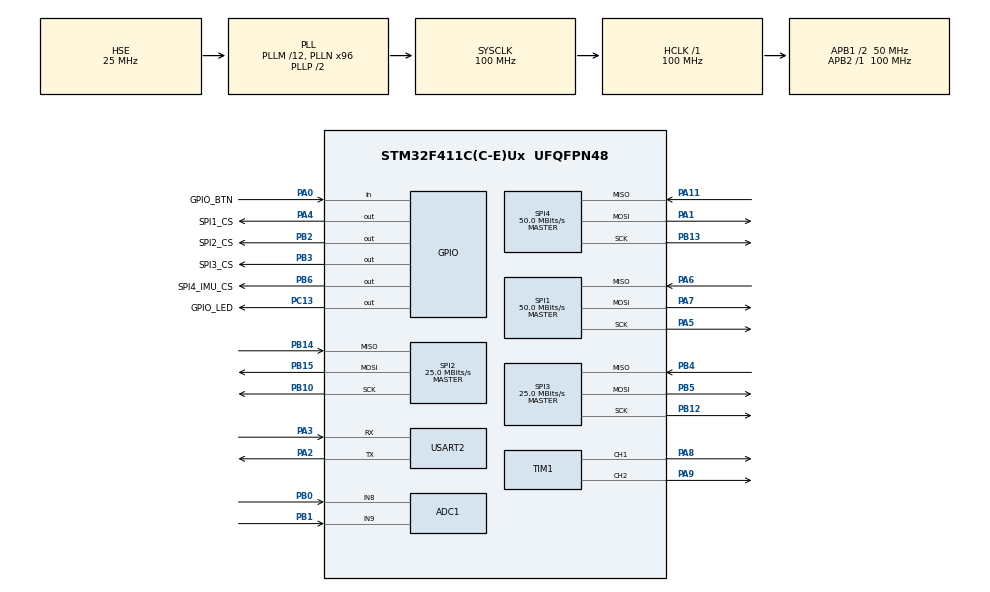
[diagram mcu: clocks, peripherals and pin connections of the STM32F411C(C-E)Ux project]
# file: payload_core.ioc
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ADC1.Channel-0\#ChannelRegularConversion=ADC_CHANNEL_8
ADC1.NbrOfConversionFlag=1
ADC1.Rank-0\#ChannelRegularConversion=1
ADC1.SamplingTime-0\#ChannelRegularConversion=ADC_SAMPLETIME_3CYCLES
ADC1.master=1
Mcu.Family=STM32F4
Mcu.Name=STM32F411C(C-E)Ux
Mcu.Package=UFQFPN48
NVIC.PriorityGroup=NVIC_PRIORITYGROUP_4
NVIC.TIM1_UP_TIM10_IRQn=true\:0\:0\:false\:false\:true\:true\:true\:true
NVIC.TIM2_IRQn=true\:0\:0\:false\:false\:true\:true\:true\:true
NVIC.TIM3_IRQn=true\:0\:0\:false\:false\:true\:true\:true\:true
NVIC.TIM4_IRQn=true\:0\:0\:false\:false\:true\:true\:true\:true
PA0-WKUP.GPIO_Label=GPIO_BTN
PA0-WKUP.Signal=GPIO_Input
PA1.Mode=Full_Duplex_Master
PA1.Signal=SPI4_MOSI
PA11.Mode=Full_Duplex_Master
PA11.Signal=SPI4_MISO
PA13.Mode=Serial_Wire
PA13.Signal=SYS_JTMS-SWDIO
PA14.Mode=Serial_Wire
PA14.Signal=SYS_JTCK-SWCLK
PA2.Mode=Asynchronous
PA2.Signal=USART2_TX
PA3.Mode=Asynchronous
PA3.Signal=USART2_RX
PA4.GPIO_Label=SPI1_CS
PA4.Signal=GPIO_Output
PA5.Mode=Full_Duplex_Master
PA5.Signal=SPI1_SCK
PA6.Mode=Full_Duplex_Master
PA6.Signal=SPI1_MISO
PA7.Mode=Full_Duplex_Master
PA7.Signal=SPI1_MOSI
PA8.Signal=S_TIM1_CH1
PA9.Signal=S_TIM1_CH2
PB0.Signal=ADCx_IN8
PB1.Signal=ADCx_IN9
PB10.Mode=Full_Duplex_Master
PB10.Signal=SPI2_SCK
PB12.Mode=Full_Duplex_Master
PB12.Signal=SPI3_SCK
PB13.Mode=Full_Duplex_Master
PB13.Signal=SPI4_SCK
PB14.Mode=Full_Duplex_Master
PB14.Signal=SPI2_MISO
PB15.Mode=Full_Duplex_Master
PB15.Signal=SPI2_MOSI
PB2.GPIO_Label=SPI2_CS
PB2.Signal=GPIO_Output
PB3.GPIO_Label=SPI3_CS
PB3.Signal=GPIO_Output
PB4.Mode=Full_Duplex_Master
PB4.Signal=SPI3_MISO
PB5.Mode=Full_Duplex_Master
PB5.Signal=SPI3_MOSI
PB6.GPIO_Label=SPI4_IMU_CS
PB6.Signal=GPIO_Output
PC13-ANTI_TAMP.GPIO_Label=GPIO_LED
PC13-ANTI_TAMP.Signal=GPIO_Output
PC14-OSC32_IN.Mode=LSE-External-Oscillator
PC14-OSC32_IN.Signal=RCC_OSC32_IN
PC15-OSC32_OUT.Mode=LSE-External-Oscillator
PC15-OSC32_OUT.Signal=RCC_OSC32_OUT
PH0\ -\ OSC_IN.Mode=HSE-External-Oscillator
PH0\ -\ OSC_IN.Signal=RCC_OSC_IN
PH1\ -\ OSC_OUT.Mode=HSE-External-Oscillator
PH1\ -\ OSC_OUT.Signal=RCC_OSC_OUT
ProjectManager.HeapSize=0x200
ProjectManager.StackSize=0x400
ProjectManager.TargetToolchain=EWARM V8.50
RCC.48MHZClocksFreq_Value=50000000
RCC.AHBFreq_Value=100000000
RCC.APB1CLKDivider=RCC_HCLK_DIV2
RCC.APB1Freq_Value=50000000
RCC.APB1TimFreq_Value=100000000
RCC.APB2Freq_Value=100000000
RCC.APB2TimFreq_Value=100000000
RCC.CortexFreq_Value=100000000
RCC.HCLKFreq_Value=100000000
RCC.HSE_VALUE=25000000
RCC.HSI_VALUE=16000000
RCC.PLLM=12
RCC.PLLN=96
RCC.PLLSourceVirtual=RCC_PLLSOURCE_HSE
RCC.RCC_RTC_Clock_SourceVirtual=RCC_RTCCLKSOURCE_LSE
RCC.SYSCLKFreq_VALUE=100000000
RCC.SYSCLKSource=RCC_SYSCLKSOURCE_PLLCLK
RCC.VCOOutputFreq_Value=200000000
SH.ADCx_IN8.0=ADC1_IN8,IN8
SH.ADCx_IN9.0=ADC1_IN9,IN9
SH.S_TIM1_CH1.0=TIM1_CH1,PWM Generation1 CH1
SH.S_TIM1_CH2.0=TIM1_CH2,PWM Generation2 CH2
SPI1.BaudRatePrescaler=SPI_BAUDRATEPRESCALER_2
SPI1.CalculateBaudRate=50.0 MBits/s
SPI1.Direction=SPI_DIRECTION_2LINES
SPI1.Mode=SPI_MODE_MASTER
SPI1.VirtualType=VM_MASTER
SPI2.BaudRatePrescaler=SPI_BAUDRATEPRESCALER_2
SPI2.CalculateBaudRate=25.0 MBits/s
SPI2.Direction=SPI_DIRECTION_2LINES
SPI2.Mode=SPI_MODE_MASTER
SPI2.VirtualType=VM_MASTER
SPI3.BaudRatePrescaler=SPI_BAUDRATEPRESCALER_2
SPI3.CalculateBaudRate=25.0 MBits/s
SPI3.Direction=SPI_DIRECTION_2LINES
SPI3.Mode=SPI_MODE_MASTER
SPI3.VirtualType=VM_MASTER
SPI4.BaudRatePrescaler=SPI_BAUDRATEPRESCALER_2
SPI4.CalculateBaudRate=50.0 MBits/s
SPI4.Direction=SPI_DIRECTION_2LINES
SPI4.Mode=SPI_MODE_MASTER
SPI4.VirtualType=VM_MASTER
TIM1.Channel-PWM\ Generation1\ CH1=TIM_CHANNEL_1
TIM1.Channel-PWM\ Generation2\ CH2=TIM_CHANNEL_2
USART2.VirtualMode=VM_ASYNC
VP_CRC_VS_CRC.Mode=CRC_Activate
VP_RTC_VS_RTC_Activate.Mode=RTC_Enabled
VP_TIM1_VS_ClockSourceINT.Mode=Internal
VP_TIM2_VS_ClockSourceINT.Mode=Internal
VP_TIM3_VS_ClockSourceINT.Mode=Internal
VP_TIM4_VS_ClockSourceINT.Mode=Internal
board=custom

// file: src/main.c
#include "main.h"
#include "payload.h"
#include "../lib/spif/spif.h"
#include "log.h"
#include "servo.h"
#include "stm32f4xx_hal_spi.h"
#include "stm32f4xx_hal_tim.h"

ADC_HandleTypeDef hadc1;

CRC_HandleTypeDef hcrc;

RTC_HandleTypeDef hrtc;

SPI_HandleTypeDef hspi1;
SPI_HandleTypeDef hspi2;
SPI_HandleTypeDef hspi3;
SPI_HandleTypeDef hspi4;

SPIF_HandleTypeDef hspif;

TIM_HandleTypeDef htim1;
TIM_HandleTypeDef htim2;
TIM_HandleTypeDef htim3;
TIM_HandleTypeDef htim4;

UART_HandleTypeDef huart2;

struct servo_device servo_dev1 = { 0 };
struct servo_device servo_dev2 = { 0 };

enum led_state_e led_state = LED_OFF;

void SystemClock_Config(void);
static void MX_GPIO_Init(void);
static void MX_SPI2_Init(void);
static void MX_SPI3_Init(void);
static void MX_RTC_Init(void);
static void MX_TIM1_Init(void);
static void MX_USART2_UART_Init(void);
static void MX_SPI4_Init(void);
static void MX_SPI1_Init(void);
static void MX_CRC_Init(void);
static void MX_ADC1_Init(void);
static void MX_TIM2_Init(void);
static void MX_TIM3_Init(void);
static void MX_TIM4_Init(void);

int main(void)
{
	/* Reset of all peripherals, Initializes the Flash interface and the Systick. */
	HAL_Init();

	/* Configure the system clock */
	SystemClock_Config();

	/* Initialize all configured peripherals */
	MX_GPIO_Init();
	MX_SPI2_Init();
	MX_SPI3_Init();
	MX_RTC_Init();
	MX_USART2_UART_Init();
	MX_SPI4_Init();
	MX_SPI1_Init();
	MX_CRC_Init();
	MX_ADC1_Init();
	MX_TIM1_Init();
	MX_TIM2_Init();
	MX_TIM3_Init();
	MX_TIM4_Init();

	log_init(&huart2);

	LOG_INF("------- PAYLOAD CORE INIT -------");

	// Initialize SPI Flash
	if (!SPIF_Init(&hspif, &hspi1, SPI1_CS_GPIO_Port, SPI1_CS_Pin))
	{
		LOG_ERR("Flash init failed");
		Error_Handler();
	}
	LOG_INF("Flash: %lu pages (%lu KiB)", hspif.PageCnt, hspif.PageCnt / 4);

	// Initialize servos
	servo_dev1.htim = &htim1;
	servo_dev1.hadc = &hadc1;
	servo_dev1.tim_channel = TIM_CHANNEL_1;
	servo_dev1.adc_channel = ADC_CHANNEL_8;
	servo_dev1.period_us = 20000;
	servo_dev1.pwm_min_us = 500;
	servo_dev1.pwm_max_us = 2500;
	servo_dev1.deg_min = -90.0;
	servo_dev1.deg_max = 90.0;
	servo_dev1.deg_offset = 0.0;
	servo_dev1.adc_min = 182;
	servo_dev1.adc_max = 3870;
	if (servo_init(&servo_dev1))
	{
		LOG_ERR("Error initializing servo device 1 (TIM1-CH1).");
	}

	servo_dev2 = servo_dev1;
	servo_dev2.adc_channel = ADC_CHANNEL_9;
	servo_dev2.tim_channel = TIM_CHANNEL_2;
	servo_dev2.adc_min = 182;
	servo_dev2.adc_max = 3887;
	if (servo_init(&servo_dev2))
	{
		LOG_ERR("Error initializing servo device 2 (TIM1-CH2).");
	}

	HAL_TIM_Base_Start_IT(&htim2);
	HAL_TIM_Base_Start_IT(&htim3);
	HAL_TIM_Base_Start_IT(&htim4);

	payload_setup();

	while (1)
	{
		payload_poll();
	}
}

void SystemClock_Config(void)
{
	RCC_OscInitTypeDef RCC_OscInitStruct = { 0 };
	RCC_ClkInitTypeDef RCC_ClkInitStruct = { 0 };

	/** Configure the main internal regulator output voltage
	 */
	__HAL_RCC_PWR_CLK_ENABLE();
	__HAL_PWR_VOLTAGESCALING_CONFIG(PWR_REGULATOR_VOLTAGE_SCALE1);

	/** Initializes the RCC Oscillators according to the specified parameters
	 * in the RCC_OscInitTypeDef structure.
	 */
	RCC_OscInitStruct.OscillatorType = RCC_OSCILLATORTYPE_HSE | RCC_OSCILLATORTYPE_LSE;
	RCC_OscInitStruct.HSEState = RCC_HSE_ON;
	RCC_OscInitStruct.LSEState = RCC_LSE_ON;
	RCC_OscInitStruct.PLL.PLLState = RCC_PLL_ON;
	RCC_OscInitStruct.PLL.PLLSource = RCC_PLLSOURCE_HSE;
	RCC_OscInitStruct.PLL.PLLM = 12;
	RCC_OscInitStruct.PLL.PLLN = 96;
	RCC_OscInitStruct.PLL.PLLP = RCC_PLLP_DIV2;
	RCC_OscInitStruct.PLL.PLLQ = 4;
	if (HAL_RCC_OscConfig(&RCC_OscInitStruct) != HAL_OK)
	{
		Error_Handler();
	}

	/** Initializes the CPU, AHB and APB buses clocks
	 */
	RCC_ClkInitStruct.ClockType
	        = RCC_CLOCKTYPE_HCLK | RCC_CLOCKTYPE_SYSCLK | RCC_CLOCKTYPE_PCLK1 | RCC_CLOCKTYPE_PCLK2;
	RCC_ClkInitStruct.SYSCLKSource = RCC_SYSCLKSOURCE_PLLCLK;
	RCC_ClkInitStruct.AHBCLKDivider = RCC_SYSCLK_DIV1;
	RCC_ClkInitStruct.APB1CLKDivider = RCC_HCLK_DIV2;
	RCC_ClkInitStruct.APB2CLKDivider = RCC_HCLK_DIV1;

	if (HAL_RCC_ClockConfig(&RCC_ClkInitStruct, FLASH_LATENCY_3) != HAL_OK)
	{
		Error_Handler();
	}
}

static void MX_ADC1_Init(void)
{

	ADC_ChannelConfTypeDef sConfig = { 0 };

	/** Configure the global features of the ADC (Clock, Resolution, Data Alignment and number of
	 * conversion)
	 */
	hadc1.Instance = ADC1;
	hadc1.Init.ClockPrescaler = ADC_CLOCK_SYNC_PCLK_DIV4;
	hadc1.Init.Resolution = ADC_RESOLUTION_12B;
	hadc1.Init.ScanConvMode = DISABLE;
	hadc1.Init.ContinuousConvMode = DISABLE;
	hadc1.Init.DiscontinuousConvMode = DISABLE;
	hadc1.Init.ExternalTrigConvEdge = ADC_EXTERNALTRIGCONVEDGE_NONE;
	hadc1.Init.ExternalTrigConv = ADC_SOFTWARE_START;
	hadc1.Init.DataAlign = ADC_DATAALIGN_RIGHT;
	hadc1.Init.NbrOfConversion = 1;
	hadc1.Init.DMAContinuousRequests = DISABLE;
	hadc1.Init.EOCSelection = ADC_EOC_SINGLE_CONV;
	if (HAL_ADC_Init(&hadc1) != HAL_OK)
	{
		Error_Handler();
	}

	/** Configure for the selected ADC regular channel its corresponding rank in the sequencer and
	 * its sample time.
	 */
	sConfig.Channel = ADC_CHANNEL_8;
	sConfig.Rank = 1;
	sConfig.SamplingTime = ADC_SAMPLETIME_3CYCLES;
	if (HAL_ADC_ConfigChannel(&hadc1, &sConfig) != HAL_OK)
	{
		Error_Handler();
	}
}

static void MX_CRC_Init(void)
{

	hcrc.Instance = CRC;
	if (HAL_CRC_Init(&hcrc) != HAL_OK)
	{
		Error_Handler();
	}
}

static void MX_RTC_Init(void)
{

	/** Initialize RTC Only
	 */
	hrtc.Instance = RTC;
	hrtc.Init.HourFormat = RTC_HOURFORMAT_24;
	hrtc.Init.AsynchPrediv = 127;
	hrtc.Init.SynchPrediv = 255;
	hrtc.Init.OutPut = RTC_OUTPUT_DISABLE;
	hrtc.Init.OutPutPolarity = RTC_OUTPUT_POLARITY_HIGH;
	hrtc.Init.OutPutType = RTC_OUTPUT_TYPE_OPENDRAIN;
	if (HAL_RTC_Init(&hrtc) != HAL_OK)
	{
		Error_Handler();
	}
}

static void MX_SPI1_Init(void)
{

	/* SPI1 parameter configuration*/
	hspi1.Instance = SPI1;
	hspi1.Init.Mode = SPI_MODE_MASTER;
	hspi1.Init.Direction = SPI_DIRECTION_2LINES;
	hspi1.Init.DataSize = SPI_DATASIZE_8BIT;
	hspi1.Init.CLKPolarity = SPI_POLARITY_LOW;
	hspi1.Init.CLKPhase = SPI_PHASE_1EDGE;
	hspi1.Init.NSS = SPI_NSS_SOFT;
	hspi1.Init.BaudRatePrescaler = SPI_BAUDRATEPRESCALER_2;
	hspi1.Init.FirstBit = SPI_FIRSTBIT_MSB;
	hspi1.Init.TIMode = SPI_TIMODE_DISABLE;
	hspi1.Init.CRCCalculation = SPI_CRCCALCULATION_DISABLE;
	hspi1.Init.CRCPolynomial = 10;
	if (HAL_SPI_Init(&hspi1) != HAL_OK)
	{
		Error_Handler();
	}
}

static void MX_SPI2_Init(void)
{

	/* SPI2 parameter configuration*/
	hspi2.Instance = SPI2;
	hspi2.Init.Mode = SPI_MODE_MASTER;
	hspi2.Init.Direction = SPI_DIRECTION_2LINES;
	hspi2.Init.DataSize = SPI_DATASIZE_8BIT;
	hspi2.Init.CLKPolarity = SPI_POLARITY_LOW;
	hspi2.Init.CLKPhase = SPI_PHASE_1EDGE;
	hspi2.Init.NSS = SPI_NSS_SOFT;
	hspi2.Init.BaudRatePrescaler = SPI_BAUDRATEPRESCALER_128; // ~ 380 kHz
	hspi2.Init.FirstBit = SPI_FIRSTBIT_MSB;
	hspi2.Init.TIMode = SPI_TIMODE_DISABLE;
	hspi2.Init.CRCCalculation = SPI_CRCCALCULATION_DISABLE;
	hspi2.Init.CRCPolynomial = 10;
	if (HAL_SPI_Init(&hspi2) != HAL_OK)
	{
		Error_Handler();
	}
}

static void MX_SPI3_Init(void)
{

	/* SPI3 parameter configuration*/
	hspi3.Instance = SPI3;
	hspi3.Init.Mode = SPI_MODE_MASTER;
	hspi3.Init.Direction = SPI_DIRECTION_2LINES;
	hspi3.Init.DataSize = SPI_DATASIZE_8BIT;
	hspi3.Init.CLKPolarity = SPI_POLARITY_HIGH;
	hspi3.Init.CLKPhase = SPI_PHASE_2EDGE;
	hspi3.Init.NSS = SPI_NSS_SOFT;
	hspi3.Init.BaudRatePrescaler = SPI_BAUDRATEPRESCALER_8;
	hspi3.Init.FirstBit = SPI_FIRSTBIT_MSB;
	hspi3.Init.TIMode = SPI_TIMODE_DISABLE;
	hspi3.Init.CRCCalculation = SPI_CRCCALCULATION_DISABLE;
	hspi3.Init.CRCPolynomial = 10;
	if (HAL_SPI_Init(&hspi3) != HAL_OK)
	{
		Error_Handler();
	}
}

static void MX_SPI4_Init(void)
{

	/* SPI4 parameter configuration*/
	hspi4.Instance = SPI4;
	hspi4.Init.Mode = SPI_MODE_MASTER;
	hspi4.Init.Direction = SPI_DIRECTION_2LINES;
	hspi4.Init.DataSize = SPI_DATASIZE_8BIT;
	hspi4.Init.CLKPolarity = SPI_POLARITY_HIGH;
	hspi4.Init.CLKPhase = SPI_PHASE_2EDGE;
	hspi4.Init.NSS = SPI_NSS_SOFT;
	hspi4.Init.BaudRatePrescaler = SPI_BAUDRATEPRESCALER_16;
	hspi4.Init.FirstBit = SPI_FIRSTBIT_MSB;
	hspi4.Init.TIMode = SPI_TIMODE_DISABLE;
	hspi4.Init.CRCCalculation = SPI_CRCCALCULATION_DISABLE;
	hspi4.Init.CRCPolynomial = 10;
	if (HAL_SPI_Init(&hspi4) != HAL_OK)
	{
		Error_Handler();
	}
}

static void MX_TIM1_Init(void)
{

	TIM_ClockConfigTypeDef sClockSourceConfig = { 0 };
	TIM_MasterConfigTypeDef sMasterConfig = { 0 };
	TIM_OC_InitTypeDef sConfigOC = { 0 };
	TIM_BreakDeadTimeConfigTypeDef sBreakDeadTimeConfig = { 0 };

	htim1.Instance = TIM1;
	htim1.Init.Prescaler = 258;
	htim1.Init.CounterMode = TIM_COUNTERMODE_UP;
	htim1.Init.Period = 65535;
	htim1.Init.ClockDivision = TIM_CLOCKDIVISION_DIV1;
	htim1.Init.RepetitionCounter = 0;
	htim1.Init.AutoReloadPreload = TIM_AUTORELOAD_PRELOAD_DISABLE;
	if (HAL_TIM_Base_Init(&htim1) != HAL_OK)
	{
		Error_Handler();
	}
	sClockSourceConfig.ClockSource = TIM_CLOCKSOURCE_INTERNAL;
	if (HAL_TIM_ConfigClockSource(&htim1, &sClockSourceConfig) != HAL_OK)
	{
		Error_Handler();
	}
	if (HAL_TIM_PWM_Init(&htim1) != HAL_OK)
	{
		Error_Handler();
	}
	sMasterConfig.MasterOutputTrigger = TIM_TRGO_RESET;
	sMasterConfig.MasterSlaveMode = TIM_MASTERSLAVEMODE_DISABLE;
	if (HAL_TIMEx_MasterConfigSynchronization(&htim1, &sMasterConfig) != HAL_OK)
	{
		Error_Handler();
	}
	sConfigOC.OCMode = TIM_OCMODE_PWM1;
	sConfigOC.Pulse = 0;
	sConfigOC.OCPolarity = TIM_OCPOLARITY_HIGH;
	sConfigOC.OCNPolarity = TIM_OCNPOLARITY_HIGH;
	sConfigOC.OCFastMode = TIM_OCFAST_DISABLE;
	sConfigOC.OCIdleState = TIM_OCIDLESTATE_RESET;
	sConfigOC.OCNIdleState = TIM_OCNIDLESTATE_RESET;
	if (HAL_TIM_PWM_ConfigChannel(&htim1, &sConfigOC, TIM_CHANNEL_1) != HAL_OK)
	{
		Error_Handler();
	}
	if (HAL_TIM_PWM_ConfigChannel(&htim1, &sConfigOC, TIM_CHANNEL_2) != HAL_OK)
	{
		Error_Handler();
	}
	sBreakDeadTimeConfig.OffStateRunMode = TIM_OSSR_DISABLE;
	sBreakDeadTimeConfig.OffStateIDLEMode = TIM_OSSI_DISABLE;
	sBreakDeadTimeConfig.LockLevel = TIM_LOCKLEVEL_OFF;
	sBreakDeadTimeConfig.DeadTime = 0;
	sBreakDeadTimeConfig.BreakState = TIM_BREAK_DISABLE;
	sBreakDeadTimeConfig.BreakPolarity = TIM_BREAKPOLARITY_HIGH;
	sBreakDeadTimeConfig.AutomaticOutput = TIM_AUTOMATICOUTPUT_DISABLE;
	if (HAL_TIMEx_ConfigBreakDeadTime(&htim1, &sBreakDeadTimeConfig) != HAL_OK)
	{
		Error_Handler();
	}
	HAL_TIM_MspPostInit(&htim1);
}

static void MX_TIM2_Init(void)
{

	TIM_ClockConfigTypeDef sClockSourceConfig = { 0 };
	TIM_MasterConfigTypeDef sMasterConfig = { 0 };

	htim2.Instance = TIM2;

	htim2.Init.Prescaler = 9999;
	htim2.Init.CounterMode = TIM_COUNTERMODE_UP;
	htim2.Init.Period = (PAYLOAD_MAIN_POLL_PERIOD_MS * 10) - 1;

	htim2.Init.ClockDivision = TIM_CLOCKDIVISION_DIV1;
	htim2.Init.AutoReloadPreload = TIM_AUTORELOAD_PRELOAD_ENABLE;
	if (HAL_TIM_Base_Init(&htim2) != HAL_OK)
	{
		Error_Handler();
	}
	sClockSourceConfig.ClockSource = TIM_CLOCKSOURCE_INTERNAL;
	if (HAL_TIM_ConfigClockSource(&htim2, &sClockSourceConfig) != HAL_OK)
	{
		Error_Handler();
	}
	sMasterConfig.MasterOutputTrigger = TIM_TRGO_RESET;
	sMasterConfig.MasterSlaveMode = TIM_MASTERSLAVEMODE_DISABLE;
	if (HAL_TIMEx_MasterConfigSynchronization(&htim2, &sMasterConfig) != HAL_OK)
	{
		Error_Handler();
	}
}

static void MX_TIM3_Init(void)
{

	TIM_ClockConfigTypeDef sClockSourceConfig = { 0 };
	TIM_MasterConfigTypeDef sMasterConfig = { 0 };

	htim3.Instance = TIM3;
	htim3.Init.Prescaler = 258;
	htim3.Init.CounterMode = TIM_COUNTERMODE_DOWN;
	htim3.Init.Period = 65535;
	htim3.Init.ClockDivision = TIM_CLOCKDIVISION_DIV1;
	htim3.Init.AutoReloadPreload = TIM_AUTORELOAD_PRELOAD_ENABLE;
	if (HAL_TIM_Base_Init(&htim3) != HAL_OK)
	{
		Error_Handler();
	}
	sClockSourceConfig.ClockSource = TIM_CLOCKSOURCE_INTERNAL;
	if (HAL_TIM_ConfigClockSource(&htim3, &sClockSourceConfig) != HAL_OK)
	{
		Error_Handler();
	}
	sMasterConfig.MasterOutputTrigger = TIM_TRGO_RESET;
	sMasterConfig.MasterSlaveMode = TIM_MASTERSLAVEMODE_DISABLE;
	if (HAL_TIMEx_MasterConfigSynchronization(&htim3, &sMasterConfig) != HAL_OK)
	{
		Error_Handler();
	}
}

static void MX_TIM4_Init(void)
{

	TIM_ClockConfigTypeDef sClockSourceConfig = { 0 };
	TIM_MasterConfigTypeDef sMasterConfig = { 0 };

	htim4.Instance = TIM4;
	htim4.Init.Prescaler = 10000;
	htim4.Init.CounterMode = TIM_COUNTERMODE_UP;
	htim4.Init.Period = 100;
	htim4.Init.ClockDivision = TIM_CLOCKDIVISION_DIV1;
	htim4.Init.AutoReloadPreload = TIM_AUTORELOAD_PRELOAD_DISABLE;
	if (HAL_TIM_Base_Init(&htim4) != HAL_OK)
	{
		Error_Handler();
	}
	sClockSourceConfig.ClockSource = TIM_CLOCKSOURCE_INTERNAL;
	if (HAL_TIM_ConfigClockSource(&htim4, &sClockSourceConfig) != HAL_OK)
	{
		Error_Handler();
	}
	sMasterConfig.MasterOutputTrigger = TIM_TRGO_RESET;
	sMasterConfig.MasterSlaveMode = TIM_MASTERSLAVEMODE_DISABLE;
	if (HAL_TIMEx_MasterConfigSynchronization(&htim4, &sMasterConfig) != HAL_OK)
	{
		Error_Handler();
	}
}

static void MX_USART2_UART_Init(void)
{

	huart2.Instance = USART2;
	huart2.Init.BaudRate = 115200;
	huart2.Init.WordLength = UART_WORDLENGTH_8B;
	huart2.Init.StopBits = UART_STOPBITS_1;
	huart2.Init.Parity = UART_PARITY_NONE;
	huart2.Init.Mode = UART_MODE_TX_RX;
	huart2.Init.HwFlowCtl = UART_HWCONTROL_NONE;
	huart2.Init.OverSampling = UART_OVERSAMPLING_16;
	if (HAL_UART_Init(&huart2) != HAL_OK)
	{
		Error_Handler();
	}
}

static void MX_GPIO_Init(void)
{
	GPIO_InitTypeDef GPIO_InitStruct = { 0 };

	/* GPIO Ports Clock Enable */
	__HAL_RCC_GPIOC_CLK_ENABLE();
	__HAL_RCC_GPIOH_CLK_ENABLE();
	__HAL_RCC_GPIOA_CLK_ENABLE();
	__HAL_RCC_GPIOB_CLK_ENABLE();

	/*Configure GPIO pin Output Level */
	HAL_GPIO_WritePin(GPIO_LED_GPIO_Port, GPIO_LED_Pin, GPIO_PIN_SET);

	/*Configure GPIO pin Output Level */
	HAL_GPIO_WritePin(SPI1_CS_GPIO_Port, SPI1_CS_Pin, GPIO_PIN_SET);

	/*Configure GPIO pin Output Level */
	HAL_GPIO_WritePin(GPIOB, SPI3_CS_Pin | SPI4_IMU_CS_Pin | SPI2_CS_Pin, GPIO_PIN_SET);

	/*Configure GPIO pin : GPIO_LED_Pin */
	GPIO_InitStruct.Pin = GPIO_LED_Pin;
	GPIO_InitStruct.Mode = GPIO_MODE_OUTPUT_PP;
	GPIO_InitStruct.Pull = GPIO_NOPULL;
	GPIO_InitStruct.Speed = GPIO_SPEED_FREQ_LOW;
	HAL_GPIO_Init(GPIO_LED_GPIO_Port, &GPIO_InitStruct);

	/*Configure GPIO pin : GPIO_BTN_Pin */
	GPIO_InitStruct.Pin = GPIO_BTN_Pin;
	GPIO_InitStruct.Mode = GPIO_MODE_INPUT;
	GPIO_InitStruct.Pull = GPIO_PULLUP;
	HAL_GPIO_Init(GPIO_BTN_GPIO_Port, &GPIO_InitStruct);

	/*Configure GPIO pin : SPI1_CS_Pin */
	GPIO_InitStruct.Pin = SPI1_CS_Pin;
	GPIO_InitStruct.Mode = GPIO_MODE_OUTPUT_PP;
	GPIO_InitStruct.Pull = GPIO_NOPULL;
	GPIO_InitStruct.Speed = GPIO_SPEED_FREQ_LOW;
	HAL_GPIO_Init(SPI1_CS_GPIO_Port, &GPIO_InitStruct);

	/*Configure GPIO pins : SPI3_CS_Pin SPI4_IMU_CS_Pin SPI2_CS_Pin */
	GPIO_InitStruct.Pin = SPI3_CS_Pin | SPI4_IMU_CS_Pin | SPI2_CS_Pin;
	GPIO_InitStruct.Mode = GPIO_MODE_OUTPUT_PP;
	GPIO_InitStruct.Pull = GPIO_NOPULL;
	GPIO_InitStruct.Speed = GPIO_SPEED_FREQ_LOW;
	HAL_GPIO_Init(GPIOB, &GPIO_InitStruct);

}

void Error_Handler(void)
{
	/* USER CODE BEGIN Error_Handler_Debug */
	/* User can add his own implementation to report the HAL error return state */
	__disable_irq();
	led_state = LED_OFF;

	while (1)
	{
		HAL_Delay(500);
		// S
		for (int i = 0; i < 3; i++)
		{
			led_state = LED_ON;
			HAL_Delay(150);
			led_state = LED_OFF;
			HAL_Delay(200);
		}
		// O
		for (int i = 0; i < 3; i++)
		{
			led_state = LED_ON;
			HAL_Delay(400);
			led_state = LED_OFF;
			HAL_Delay(200);
		}
		// S
		for (int i = 0; i < 3; i++)
		{
			led_state = LED_ON;
			HAL_Delay(150);
			led_state = LED_OFF;
			HAL_Delay(200);
		}
	}
	/* USER CODE END Error_Handler_Debug */
}
